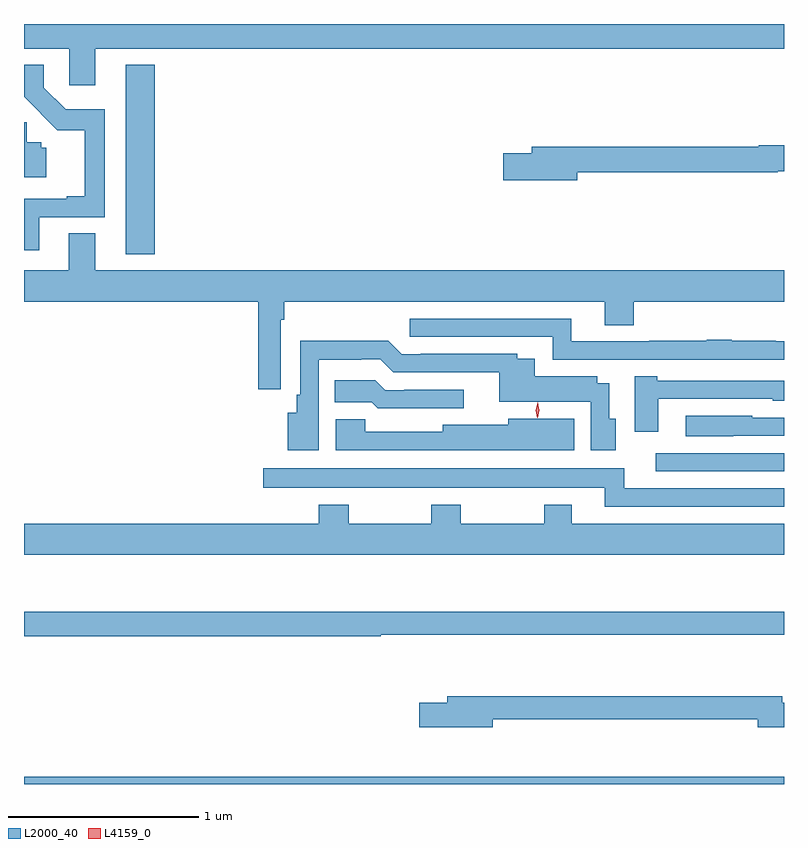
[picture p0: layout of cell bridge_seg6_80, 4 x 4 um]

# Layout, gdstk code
import gdstk
lib = gdstk.Library(unit=1e-6, precision=1e-09)
def R(c, l, rs):  # rectangles x0, y0, x1, y1
    for r in rs: c.add(gdstk.rectangle(r[:2], r[2:], *l))
def P(c, l, *ps):  # polygons
    for p in ps: c.add(gdstk.Polygon(p, *l))
L2000_40 = (2000, 40)
L4159_0 = (4159, 0)

bridge_seg6_80 = lib.new_cell('bridge_seg6_80')
R(bridge_seg6_80, L2000_40, [(731.577,988.753,735.577,988.792), (734.901,990.399,735.577,990.495), (732.113,991.541,732.266,992.539)])
P(bridge_seg6_80, L2000_40, [(731.953,992.624),(735.577,992.624),(735.577,992.753),(731.577,992.753),(731.577,992.624),(731.814,992.624),(731.814,992.43),(731.953,992.43)],
  [(731.656,991.737),(732.001,991.737),(732.001,992.304),(731.796,992.304),(731.682,992.418),(731.682,992.539),(731.577,992.539),(731.577,992.37),(731.753,992.195),(731.897,992.195),(731.897,991.846),(731.801,991.846),(731.801,991.833),(731.577,991.833),(731.577,991.563),(731.656,991.563)],
  [(731.695,992.103),(731.667,992.103),(731.667,992.13),(731.591,992.13),(731.591,992.235),(731.577,992.235),(731.577,991.946),(731.695,991.946)],
  [(734.488,991.972),(735.544,991.972),(735.544,991.979),(735.577,991.979),(735.577,992.116),(735.444,992.116),(735.444,992.108),(734.249,992.108),(734.249,992.072),(734.1,992.072),(734.1,991.93),(734.488,991.93)],
  [(732.811,990.831),(732.927,990.831),(732.927,991.196),(732.947,991.196),(732.947,991.292),(734.633,991.292),(734.633,991.168),(734.786,991.168),(734.786,991.292),(735.577,991.292),(735.577,991.456),(731.953,991.456),(731.953,991.651),(731.813,991.651),(731.813,991.456),(731.577,991.456),(731.577,991.292),(732.811,991.292)],
  [(735.577,991.083),(735.533,991.083),(735.533,991.085),(735.303,991.085),(735.303,991.09),(735.171,991.09),(735.171,991.085),(734.869,991.085),(734.869,991.083),(734.458,991.083),(734.458,991.203),(733.608,991.203),(733.608,991.107),(734.361,991.107),(734.361,990.987),(735.577,990.987)],
  [(733.128,990.987),(733.352,990.987),(733.352,990.989),(733.453,990.989),(733.521,990.921),(734.078,990.921),(734.078,990.764),(734.559,990.764),(734.559,990.51),(734.692,990.51),(734.692,990.676),(734.656,990.676),(734.656,990.861),(734.593,990.861),(734.593,990.898),(734.266,990.898),(734.266,990.991),(734.172,990.991),(734.172,991.017),(733.666,991.017),(733.666,991.014),(733.566,991.014),(733.493,991.087),(733.268,991.087),(733.268,991.085),(733.032,991.085),(733.032,990.802),(733.012,990.802),(733.012,990.706),(732.965,990.706),(732.965,990.51),(733.128,990.51)],
  [(734.914,990.78),(735.519,990.78),(735.519,990.77),(735.577,990.77),(735.577,990.876),(734.91,990.876),(734.91,990.898),(734.792,990.898),(734.792,990.606),(734.914,990.606)],
  [(733.891,990.828),(733.579,990.828),(733.579,990.825),(733.479,990.825),(733.425,990.879),(733.213,990.879),(733.213,990.762),(733.407,990.762),(733.438,990.731),(733.891,990.731)],
  [(735.311,990.585),(735.577,990.585),(735.577,990.681),(735.411,990.681),(735.411,990.691),(735.06,990.691),(735.06,990.584),(735.311,990.584)],
  [(734.474,990.676),(734.126,990.676),(734.126,990.643),(733.781,990.643),(733.781,990.606),(733.374,990.606),(733.374,990.673),(733.218,990.673),(733.218,990.51),(733.885,990.51),(733.885,990.509),(734.474,990.509)],
  [(735.577,990.309),(734.737,990.309),(734.737,990.415),(732.837,990.415),(732.837,990.311),(734.633,990.311),(734.633,990.213),(735.577,990.213)],
  [(735.577,990.124),(734.461,990.124),(734.461,990.223),(734.314,990.223),(734.314,990.124),(733.875,990.124),(733.875,990.223),(733.72,990.223),(733.72,990.124),(733.287,990.124),(733.287,990.223),(733.127,990.223),(733.127,990.124),(731.577,990.124),(731.577,989.96),(735.577,989.96)],
  [(733.454,989.538),(735.577,989.538),(735.577,989.659),(731.577,989.659),(731.577,989.53),(733.454,989.53)],
  [(734.044,989.094),(735.44,989.094),(735.44,989.051),(735.577,989.051),(735.577,989.181),(735.568,989.181),(735.568,989.215),(733.805,989.215),(733.805,989.181),(733.656,989.181),(733.656,989.051),(734.044,989.051)])
P(bridge_seg6_80, L4159_0, [(734.279,990.68),(734.279,990.68),(734.27,990.721),(734.28,990.761),(734.281,990.761),(734.281,990.761),(734.29,990.72),(734.28,990.68)])

lib.write_gds('bridge_seg6_80.gds')
